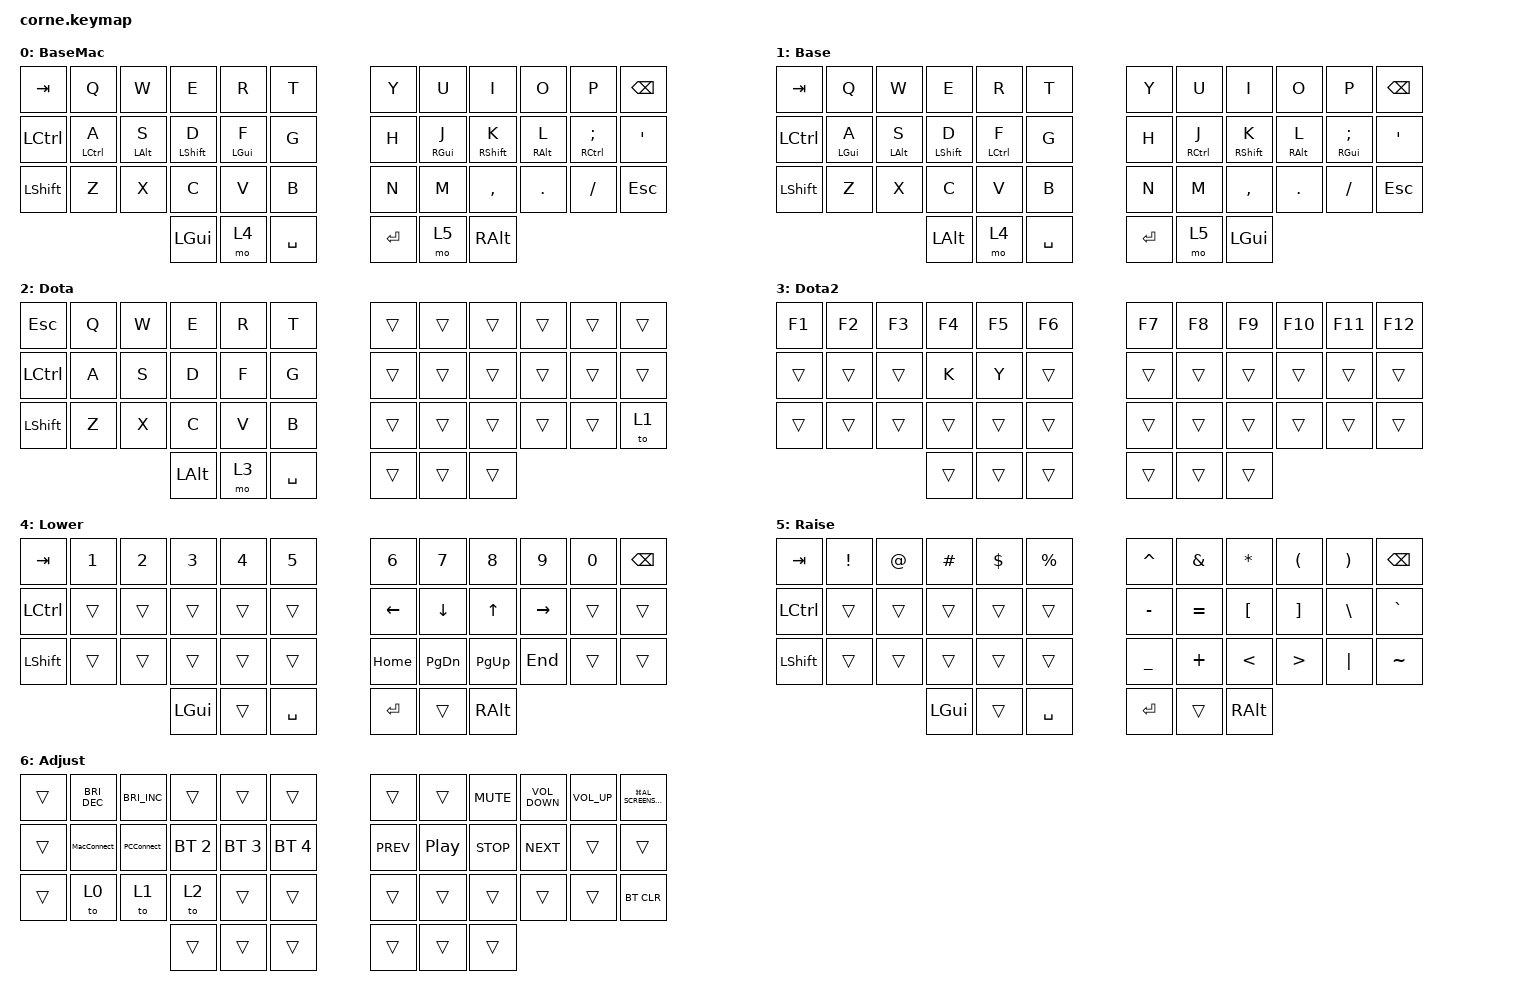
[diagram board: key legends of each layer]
/*
 * Copyright (c) 2020 The ZMK Contributors
 *
 * SPDX-License-Identifier: MIT
 */

#include <behaviors.dtsi>
#include <dt-bindings/zmk/bt.h>
#include <dt-bindings/zmk/keys.h>

/ {
    macros {
        MacConnect: MacConnect {
            compatible = "zmk,behavior-macro";
            #binding-cells = <0>;
            bindings = <&to 0 &bt BT_SEL 0>;
            label = "MACCONNECT";
        };

        PCConnect: PCConnect {
            compatible = "zmk,behavior-macro";
            #binding-cells = <0>;
            bindings = <&to 1 &bt BT_SEL 1>;
            label = "PCCONNECT";
        };
    };

    behaviors {
        hml: home_row_mod_left {
            compatible = "zmk,behavior-hold-tap";
            label = "HOME_ROW_MOD_LEFT";
            #binding-cells = <2>;
            flavor = "balanced";
            require-prior-idle-ms = <150>;
            tapping-term-ms = <280>;
            quick-tap-ms = <175>;
            bindings = <&kp>, <&kp>;

            hold-trigger-key-positions = <13 14 15 16>;
            hold-trigger-on-release;
        };

        hmr: home_row_mod_right {
            compatible = "zmk,behavior-hold-tap";
            label = "HOME_ROW_MOD_RIGHT";
            #binding-cells = <2>;
            flavor = "balanced";
            require-prior-idle-ms = <150>;
            tapping-term-ms = <280>;
            quick-tap-ms = <175>;
            bindings = <&kp>, <&kp>;

            hold-trigger-key-positions = <19 20 21 22>;
            hold-trigger-on-release;
        };
    };

    keymap {
        compatible = "zmk,keymap";

        BaseMac {
            display-name = "BaseMac";
            bindings = <
&kp TAB    &kp Q         &kp W            &kp E              &kp R            &kp T        &kp Y    &kp U             &kp I               &kp O             &kp P            &kp BSPC
&kp LCTRL  &hml LCTRL A  &hml LEFT_ALT S  &hml LEFT_SHIFT D  &hml LEFT_GUI F  &kp G        &kp H    &hmr RIGHT_GUI J  &hmr RIGHT_SHIFT K  &hmr RIGHT_ALT L  &hmr RCTRL SEMI  &kp SQT
&kp LSHFT  &kp Z         &kp X            &kp C              &kp V            &kp B        &kp N    &kp M             &kp COMMA           &kp DOT           &kp FSLH         &kp ESC
                                          &kp LGUI           &mo 4            &kp SPACE    &kp RET  &mo 5             &kp RALT
            >;
        };

        Base {
            display-name = "Base";
            bindings = <
&kp TAB    &kp Q            &kp W            &kp E              &kp R                &kp T        &kp Y    &kp U                 &kp I               &kp O             &kp P                &kp BSPC
&kp LCTRL  &hml LEFT_GUI A  &hml LEFT_ALT S  &hml LEFT_SHIFT D  &hml LEFT_CONTROL F  &kp G        &kp H    &hmr RIGHT_CONTROL J  &hmr RIGHT_SHIFT K  &hmr RIGHT_ALT L  &hmr RIGHT_GUI SEMI  &kp SQT
&kp LSHFT  &kp Z            &kp X            &kp C              &kp V                &kp B        &kp N    &kp M                 &kp COMMA           &kp DOT           &kp FSLH             &kp ESC
                                             &kp LEFT_ALT       &mo 4                &kp SPACE    &kp RET  &mo 5                 &kp LEFT_GUI
            >;
        };

        Dota {
            display-name = "Dota";
            bindings = <
&kp ESCAPE  &kp Q  &kp W  &kp E         &kp R  &kp T        &trans  &trans  &trans  &trans  &trans  &trans
&kp LCTRL   &kp A  &kp S  &kp D         &kp F  &kp G        &trans  &trans  &trans  &trans  &trans  &trans
&kp LSHFT   &kp Z  &kp X  &kp C         &kp V  &kp B        &trans  &trans  &trans  &trans  &trans  &to 1
                          &kp LEFT_ALT  &mo 3  &kp SPACE    &trans  &trans  &trans
            >;
        };

        Dota2 {
            display-name = "Dota2";
            bindings = <
&kp F1  &kp F2  &kp F3  &kp F4  &kp F5  &kp F6    &kp F7  &kp F8  &kp F9  &kp F10  &kp F11  &kp F12
&trans  &trans  &trans  &kp K   &kp Y   &trans    &trans  &trans  &trans  &trans   &trans   &trans
&trans  &trans  &trans  &trans  &trans  &trans    &trans  &trans  &trans  &trans   &trans   &trans
                        &trans  &trans  &trans    &trans  &trans  &trans
            >;
        };

        Lower {
            display-name = "Lower";
            bindings = <
&kp TAB    &kp N1  &kp N2  &kp N3    &kp N4  &kp N5       &kp N6    &kp N7         &kp N8       &kp N9     &kp N0  &kp BSPC
&kp LCTRL  &trans  &trans  &trans    &trans  &trans       &kp LEFT  &kp DOWN       &kp UP       &kp RIGHT  &trans  &trans
&kp LSHFT  &trans  &trans  &trans    &trans  &trans       &kp HOME  &kp PAGE_DOWN  &kp PAGE_UP  &kp END    &trans  &trans
                           &kp LGUI  &trans  &kp SPACE    &kp RET   &trans         &kp RALT
            >;
        };

        Raise {
            display-name = "Raise";
            bindings = <
&kp TAB    &kp EXCL  &kp AT  &kp HASH  &kp DLLR  &kp PRCNT    &kp CARET  &kp AMPS   &kp ASTRK  &kp LPAR  &kp RPAR  &kp BSPC
&kp LCTRL  &trans    &trans  &trans    &trans    &trans       &kp MINUS  &kp EQUAL  &kp LBKT   &kp RBKT  &kp BSLH  &kp GRAVE
&kp LSHFT  &trans    &trans  &trans    &trans    &trans       &kp UNDER  &kp PLUS   &kp LT     &kp GT    &kp PIPE  &kp TILDE
                             &kp LGUI  &trans    &kp SPACE    &kp RET    &trans     &kp RALT
            >;
        };

        Adjust {
            display-name = "Adjust";
            bindings = <
&trans  &kp C_BRIGHTNESS_DEC  &kp C_BRIGHTNESS_INC  &trans        &trans        &trans          &trans      &trans            &kp K_MUTE  &kp C_VOLUME_DOWN  &kp C_VOLUME_UP  &kp LG(C_AL_SCREENSAVER)
&trans  &MacConnect           &PCConnect            &bt BT_SEL 2  &bt BT_SEL 3  &bt BT_SEL 4    &kp C_PREV  &kp C_PLAY_PAUSE  &kp C_STOP  &kp C_NEXT         &trans           &trans
&trans  &to 0                 &to 1                 &to 2         &trans        &trans          &trans      &trans            &trans      &trans             &trans           &bt BT_CLR
                                                    &trans        &trans        &trans          &trans      &trans            &trans
            >;
        };
    };

    conditional_layers {
        compatible = "zmk,conditional-layers";

        Adjust {
            if-layers = <4 5>;
            then-layer = <6>;
        };

        AdjustDota {
            if-layers = <3 5>;
            then-layer = <6>;
        };
    };
};

